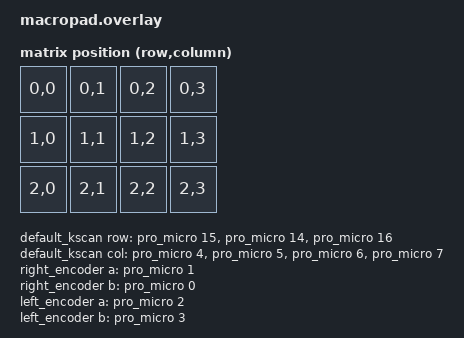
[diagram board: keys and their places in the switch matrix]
#include <dt-bindings/zmk/matrix_transform.h>

/ {
    chosen {
        zmk,kscan = &default_kscan;
        zmk,matrix_transform = &default_transform;
    };

    default_kscan: kscan {
        compatible = "zmk,kscan-gpio-matrix";
        diode-direction = "col2row";

        row-gpios = <&pro_micro 15 (GPIO_ACTIVE_HIGH | GPIO_PULL_DOWN)>,
                    <&pro_micro 14 (GPIO_ACTIVE_HIGH | GPIO_PULL_DOWN)>,
                    <&pro_micro 16 (GPIO_ACTIVE_HIGH | GPIO_PULL_DOWN)>;
    
        col-gpios = <&pro_micro 4 GPIO_ACTIVE_HIGH>,
                    <&pro_micro 5 GPIO_ACTIVE_HIGH>,
                    <&pro_micro 6 GPIO_ACTIVE_HIGH>,
                    <&pro_micro 7 GPIO_ACTIVE_HIGH>;
    };

    default_transform: matrix_transform {
        compatible = "zmk,matrix-transform";
        rows = <3>;
        columns = <4>;

        map = <
            RC(0,0) RC(0,1) RC(0,2) RC(0,3)
            RC(1,0) RC(1,1) RC(1,2) RC(1,3) 
            RC(2,0) RC(2,1) RC(2,2) RC(2,3)
        >;
    };

        right_encoder: encoder_right {
        compatible = "alps,ec11";
        a-gpios = <&pro_micro 1 (GPIO_ACTIVE_HIGH | GPIO_PULL_UP)>;
        b-gpios = <&pro_micro 0 (GPIO_ACTIVE_HIGH | GPIO_PULL_UP)>;
        steps = <80>;
        status = "disabled";
    };
    left_encoder: encoder_left {
        compatible = "alps,ec11";
        a-gpios = <&pro_micro 2 (GPIO_ACTIVE_HIGH | GPIO_PULL_UP)>;
        b-gpios = <&pro_micro 3 (GPIO_ACTIVE_HIGH | GPIO_PULL_UP)>;
        steps = <80>;
        status = "disabled";
    };

        sensors: sensors {
        compatible = "zmk,keymap-sensors";
        sensors = <&left_encoder &right_encoder>;
        triggers-per-rotation = <20>;
    };

    &left_encoder {
    status = "okay";
};
    &right_encoder {
    status = "okay";
};
};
